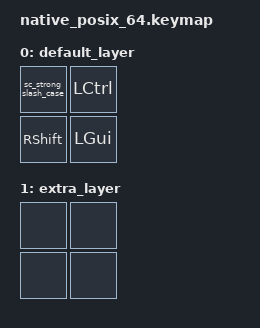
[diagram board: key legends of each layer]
#include <dt-bindings/zmk/keys.h>
#include <behaviors.dtsi>
#include <dt-bindings/zmk/kscan_mock.h>

/ {
    #define THUMB_LAYERTAP(NAME, BINDINGS) \
         NAME: NAME { \
            compatible = "zmk,behavior-hold-tap"; \
            #binding-cells = <2>; \
            tapping-term-ms = <QUICK_TAP_TERM>; \
            flavor = "tap-preferred"; \
            quick-tap-ms = <0>; \
            bindings = <&mo>, <BINDINGS>; \
        };

    #define THUMB_MACRO(NAME, BINDINGS) \
        NAME: NAME { \
            compatible = "zmk,behavior-macro"; \
            #binding-cells = <0>; \
            wait-ms = <10>; \
            tap-ms = <10>; \
            bindings = <&macro_tap BINDINGS>; \
        };

    #define THUMB_MORPH(NAME, MODS, MODDED, UNMODDED) \
        NAME: NAME { \
            compatible = "zmk,behavior-mod-morph"; \
            #binding-cells = <0>; \
            bindings = <UNMODDED>, <MODDED>; \
            mods = <(MODS)>; \
        };

    #define THUMB_COMBO_MORPH(NAME, FIRST_MOD, SECOND_MOD, IF_BOTH, OR_ELSE) \
        NAME##_CHECK_SECOND: NAME##_CHECK_SECOND { \
            compatible = "zmk,behavior-mod-morph"; \
            #binding-cells = <0>; \
            bindings = <OR_ELSE>, <IF_BOTH>; \
            mods = <(SECOND_MOD)>; \
        }; \
        NAME: NAME { \
            compatible = "zmk,behavior-mod-morph"; \
            #binding-cells = <0>; \
            bindings = <OR_ELSE>, <&NAME##_CHECK_SECOND>; \
            mods = <(FIRST_MOD)>; \
        };

        THUMB_MACRO(tc_shift_camel     ,  &to 1 &sl 1)
        THUMB_MACRO(tc_strong_snakecase,  &tog 1 &tog 1)
        THUMB_MACRO(tc_strong_kebabcase,  &tog 1 &tog 1)
        THUMB_MACRO(tc_strong_slashcase,  &tog 1 &tog 1)

        //THUMB_MORPH(sc_caps_word,  MOD_LCTL, &terminated_caps_word , &msl_a2 RAISE 0)
        //THUMB_MORPH(sc_caps_lock,  MOD_RCTL, &terminated_caps_lock , &sc_caps_word   )
        //THUMB_MORPH(sc_numpad,     MOD_LALT, &to LOWER             , &sc_caps_lock   )
        //THUMB_MORPH(sc_numword,    MOD_RALT, &tc_num_word          , &sc_numpad      )
        THUMB_MORPH(sc_numpad,     MOD_LALT, &to 1        , &caps_word   )
        THUMB_MORPH(sc_numword,    MOD_RALT, &caps_word   , &sc_numpad      )
        THUMB_MORPH(sc_camelcase,  MOD_LSFT, &to 1        , &sc_numword     )
        THUMB_MORPH(sc_snakecase,  MOD_LGUI, &to 1        , &sc_camelcase   )
        THUMB_MORPH(sc_kebabcase,  MOD_RGUI, &to 1        , &sc_snakecase   )
        THUMB_MORPH(sc_slashcase,  MOD_RSFT, &to 1        , &sc_kebabcase   )

        THUMB_COMBO_MORPH(sc_pascalcase       , MOD_LCTL, MOD_LSFT, &tc_shift_camel     , &sc_slashcase)
        THUMB_COMBO_MORPH(sc_strong_snake_case, MOD_LCTL, MOD_LGUI, &tc_strong_snakecase, &sc_pascalcase)
        THUMB_COMBO_MORPH(sc_strong_kebab_case, MOD_RCTL, MOD_RGUI, &tc_strong_kebabcase, &sc_strong_snake_case)
        THUMB_COMBO_MORPH(sc_strong_slash_case, MOD_RCTL, MOD_RSFT, &tc_strong_slashcase, &sc_strong_kebab_case)

    keymap {
        compatible = "zmk,keymap";

        default_layer {
            bindings = <
            &sc_strong_slash_case    &kp LCTRL
            &kp RSHIFT    &kp LGUI>;
        };
        extra_layer {
            bindings = <
            &none &none
            &none &none>;
        };
    };
};

&kscan {
    events = <
        ZMK_MOCK_PRESS(0,0,10)
        ZMK_MOCK_RELEASE(0,0,10)
    >;
};
